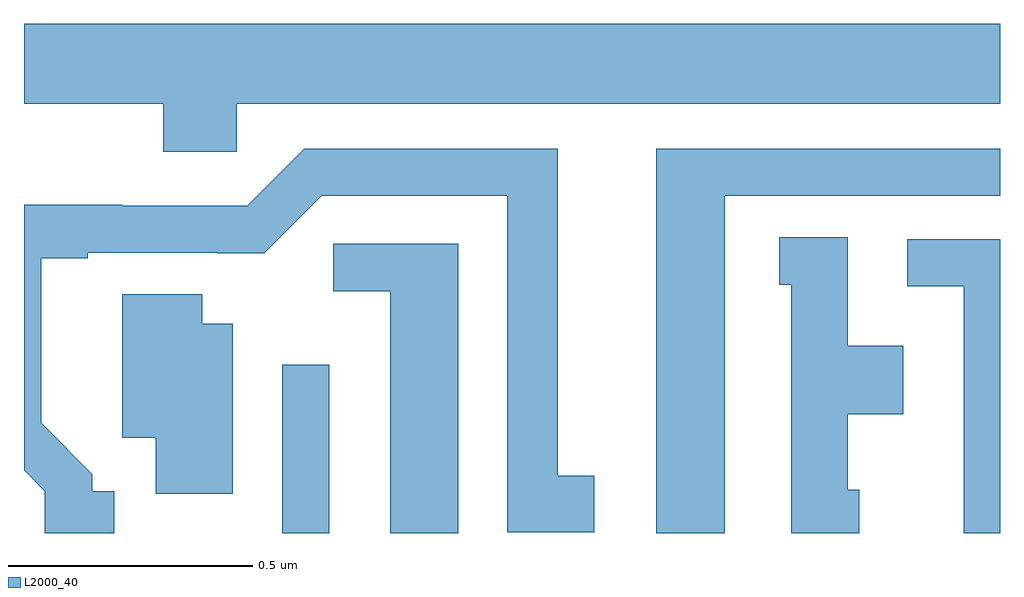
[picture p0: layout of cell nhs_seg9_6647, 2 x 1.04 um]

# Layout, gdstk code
import gdstk
lib = gdstk.Library(unit=1e-6, precision=1e-09)
def R(c, l, rs):  # rectangles x0, y0, x1, y1
    for r in rs: c.add(gdstk.rectangle(r[:2], r[2:], *l))
def P(c, l, *ps):  # polygons
    for p in ps: c.add(gdstk.Polygon(p, *l))
L2000_40 = (2000, 40)

nhs_seg9_6647 = lib.new_cell('nhs_seg9_6647')
R(nhs_seg9_6647, L2000_40, [(194.529,1235.5,194.625,1235.845)])
P(nhs_seg9_6647, L2000_40, [(194.436,1236.38),(196,1236.38),(196,1236.544),(194,1236.544),(194,1236.38),(194.285,1236.38),(194.285,1236.282),(194.436,1236.282)],
  [(194.185,1235.586),(194.14,1235.586),(194.14,1235.621),(194.035,1235.726),(194.035,1236.063),(194.131,1236.063),(194.131,1236.075),(194.396,1236.075),(194.396,1236.074),(194.492,1236.074),(194.61,1236.192),(194.99,1236.192),(194.99,1235.502),(195.169,1235.502),(195.169,1235.618),(195.094,1235.618),(195.094,1236.288),(194.574,1236.288),(194.457,1236.171),(194.201,1236.171),(194.201,1236.173),(194,1236.173),(194,1235.629),(194.043,1235.586),(194.043,1235.5),(194.185,1235.5)],
  [(195.436,1236.192),(196,1236.192),(196,1236.288),(195.296,1236.288),(195.296,1235.5),(195.436,1235.5)],
  [(195.712,1235.589),(195.688,1235.589),(195.688,1235.744),(195.802,1235.744),(195.802,1235.884),(195.688,1235.884),(195.688,1236.107),(195.548,1236.107),(195.548,1236.009),(195.572,1236.009),(195.572,1235.5),(195.712,1235.5)],
  [(196,1236.102),(195.81,1236.102),(195.81,1236.006),(195.926,1236.006),(195.926,1235.5),(196,1235.5)],
  [(194.89,1236.093),(194.634,1236.093),(194.634,1235.996),(194.75,1235.996),(194.75,1235.593),(194.751,1235.593),(194.751,1235.5),(194.89,1235.5)],
  [(194.428,1235.929),(194.365,1235.929),(194.365,1235.99),(194.201,1235.99),(194.201,1235.696),(194.27,1235.696),(194.27,1235.581),(194.428,1235.581)])

lib.write_gds('nhs_seg9_6647.gds')
